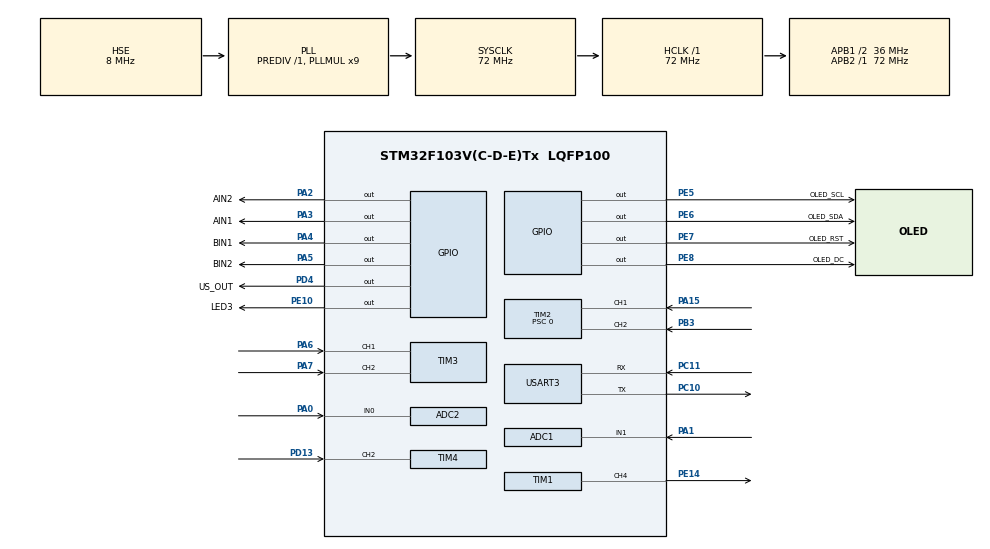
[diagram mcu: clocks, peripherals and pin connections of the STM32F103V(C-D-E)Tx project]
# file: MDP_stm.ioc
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ADC1.Channel-5\#ChannelRegularConversion=ADC_CHANNEL_1
ADC1.ContinuousConvMode=ENABLE
ADC1.NbrOfConversionFlag=1
ADC1.Rank-5\#ChannelRegularConversion=1
ADC1.SamplingTime-5\#ChannelRegularConversion=ADC_SAMPLETIME_1CYCLE_5
ADC1.master=1
ADC2.Channel-1\#ChannelRegularConversion=ADC_CHANNEL_0
ADC2.NbrOfConversionFlag=1
ADC2.Rank-1\#ChannelRegularConversion=1
ADC2.SamplingTime-1\#ChannelRegularConversion=ADC_SAMPLETIME_1CYCLE_5
FREERTOS.HEAP_NUMBER=4
FREERTOS.Tasks01=defaultTask,24,128,StartDefaultTask,Default,NULL,Dynamic,NULL,NULL;ShowTask,8,128,show,Default,NULL,Dynamic,NULL,NULL;EncoderTask,8,128,encoder_task,Default,NULL,Dynamic,NULL,NULL;SonicSensorTask,8,128,SonicSensor,Default,NULL,Dynamic,NULL,NULL;IrSensorsTask,8,128,IRSensors,Default,NULL,Dynamic,NULL,NULL
FREERTOS.configTOTAL_HEAP_SIZE=4096
Mcu.Family=STM32F1
Mcu.Name=STM32F103V(C-D-E)Tx
Mcu.Package=LQFP100
NVIC.PriorityGroup=NVIC_PRIORITYGROUP_4
NVIC.TIM4_IRQn=true\:5\:0\:false\:false\:true\:true\:true\:true
NVIC.USART3_IRQn=true\:5\:0\:true\:false\:true\:true\:true\:true
OSC_IN.Mode=HSE-External-Oscillator
OSC_IN.Signal=RCC_OSC_IN
OSC_OUT.Mode=HSE-External-Oscillator
OSC_OUT.Signal=RCC_OSC_OUT
PA0-WKUP.Signal=ADCx_IN0
PA1.Signal=ADCx_IN1
PA15.Signal=S_TIM2_CH1_ETR
PA2.GPIO_Label=AIN2
PA2.GPIO_Speed=GPIO_SPEED_FREQ_HIGH
PA2.Signal=GPIO_Output
PA3.GPIO_Label=AIN1
PA3.GPIO_Speed=GPIO_SPEED_FREQ_HIGH
PA3.Signal=GPIO_Output
PA4.GPIO_Label=BIN1
PA4.GPIO_Speed=GPIO_SPEED_FREQ_HIGH
PA4.Signal=GPIO_Output
PA5.GPIO_Label=BIN2
PA5.GPIO_Speed=GPIO_SPEED_FREQ_HIGH
PA5.Signal=GPIO_Output
PA6.Signal=S_TIM3_CH1
PA7.Signal=S_TIM3_CH2
PB3.Signal=S_TIM2_CH2
PC10.Mode=Asynchronous
PC10.Signal=USART3_TX
PC11.Mode=Asynchronous
PC11.Signal=USART3_RX
PC6.GPIO_Label=PWMA
PC6.Signal=S_TIM8_CH1
PC7.GPIO_Label=PWMB
PC7.Signal=S_TIM8_CH2
PD13.Signal=S_TIM4_CH2
PD4.GPIO_Label=US_OUT
PD4.Signal=GPIO_Output
PE10.GPIO_Label=LED3
PE10.Signal=GPIO_Output
PE14.Signal=S_TIM1_CH4
PE5.GPIO_Label=OLED_SCL
PE5.Signal=GPIO_Output
PE6.GPIO_Label=OLED_SDA
PE6.Signal=GPIO_Output
PE7.GPIO_Label=OLED_RST
PE7.Signal=GPIO_Output
PE8.GPIO_Label=OLED_DC
PE8.Signal=GPIO_Output
ProjectManager.HeapSize=0x200
ProjectManager.StackSize=0x400
ProjectManager.TargetToolchain=STM32CubeIDE
RCC.ADCPresc=RCC_ADCPCLK2_DIV6
RCC.AHBFreq_Value=72000000
RCC.APB1CLKDivider=RCC_HCLK_DIV2
RCC.APB1Freq_Value=36000000
RCC.APB1TimFreq_Value=72000000
RCC.APB2Freq_Value=72000000
RCC.APB2TimFreq_Value=72000000
RCC.HCLKFreq_Value=72000000
RCC.PLLMUL=RCC_PLL_MUL9
RCC.PLLSourceVirtual=RCC_PLLSOURCE_HSE
RCC.SYSCLKFreq_VALUE=72000000
RCC.SYSCLKSource=RCC_SYSCLKSOURCE_PLLCLK
RCC.USBFreq_Value=72000000
SH.ADCx_IN0.0=ADC2_IN0,IN0
SH.ADCx_IN1.0=ADC1_IN1,IN1
SH.S_TIM1_CH4.0=TIM1_CH4,PWM Generation4 CH4
SH.S_TIM2_CH1_ETR.0=TIM2_CH1,Encoder_Interface
SH.S_TIM2_CH2.0=TIM2_CH2,Encoder_Interface
SH.S_TIM3_CH1.0=TIM3_CH1,Encoder_Interface
SH.S_TIM3_CH2.0=TIM3_CH2,Encoder_Interface
SH.S_TIM4_CH2.0=TIM4_CH2,Input_Capture2_from_TI2
SH.S_TIM8_CH1.0=TIM8_CH1
SH.S_TIM8_CH2.0=TIM8_CH2
TIM1.AutoReloadPreload=TIM_AUTORELOAD_PRELOAD_ENABLE
TIM1.Channel-PWM\ Generation4\ CH4=TIM_CHANNEL_4
TIM1.Period=1000
TIM1.Prescaler=1440
TIM2.EncoderMode=TIM_ENCODERMODE_TI12
TIM2.IC1Filter=5
TIM2.IC2Filter=5
TIM2.Prescaler=0
TIM3.EncoderMode=TIM_ENCODERMODE_TI12
TIM3.IC1Filter=10
TIM3.IC2Filter=10
TIM4.Channel-Input_Capture2_from_TI2=TIM_CHANNEL_2
TIM4.Period=0xffff-1
TIM4.Prescaler=71
TIM8.AutoReloadPreload=TIM_AUTORELOAD_PRELOAD_DISABLE
TIM8.Channel-PWM\ Generation1\ No\ Output=TIM_CHANNEL_1
TIM8.Channel-PWM\ Generation2\ No\ Output=TIM_CHANNEL_2
TIM8.Period=7199
TIM8.TIM_MasterSlaveMode=TIM_MASTERSLAVEMODE_DISABLE
USART3.VirtualMode=VM_ASYNC
VP_FREERTOS_VS_CMSIS_V2.Mode=CMSIS_V2
VP_SYS_VS_ND.Mode=No_Debug
VP_TIM1_VS_ClockSourceINT.Mode=Internal
VP_TIM8_VS_ClockSourceINT.Mode=Internal
VP_TIM8_VS_no_output1.Mode=PWM Generation1 No Output
VP_TIM8_VS_no_output2.Mode=PWM Generation2 No Output
board=custom

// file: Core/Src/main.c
/* USER CODE BEGIN Header */
/**
  ******************************************************************************
  * @file           : main.c
  * @brief          : Main program body
  ******************************************************************************
  * @attention
  *
  * <h2><center>&copy; Copyright (c) 2021 STMicroelectronics.
  * All rights reserved.</center></h2>
  *
  * This software component is licensed by ST under BSD 3-Clause license,
  * the "License"; You may not use this file except in compliance with the
  * License. You may obtain a copy of the License at:
  *                        opensource.org/licenses/BSD-3-Clause
  *
  ******************************************************************************
  */
/* USER CODE END Header */
#include "main.h"
#include "cmsis_os.h"

/* USER CODE BEGIN Includes */
#include "oled.h"
#include "math.h"
#include "string.h"
#include "stdbool.h"
/* USER CODE END Includes */

ADC_HandleTypeDef hadc1;
ADC_HandleTypeDef hadc2;

TIM_HandleTypeDef htim1;
TIM_HandleTypeDef htim2;
TIM_HandleTypeDef htim3;
TIM_HandleTypeDef htim4;
TIM_HandleTypeDef htim8;

UART_HandleTypeDef huart3;

/* Definitions for defaultTask */
osThreadId_t defaultTaskHandle;
const osThreadAttr_t defaultTask_attributes = {
  .name = "defaultTask",
  .stack_size = 128 * 4,
  .priority = (osPriority_t) osPriorityNormal,
};
/* Definitions for ShowTask */
osThreadId_t ShowTaskHandle;
const osThreadAttr_t ShowTask_attributes = {
  .name = "ShowTask",
  .stack_size = 128 * 4,
  .priority = (osPriority_t) osPriorityLow,
};
/* Definitions for EncoderTask */
osThreadId_t EncoderTaskHandle;
const osThreadAttr_t EncoderTask_attributes = {
  .name = "EncoderTask",
  .stack_size = 128 * 4,
  .priority = (osPriority_t) osPriorityLow,
};
/* Definitions for SonicSensorTask */
osThreadId_t SonicSensorTaskHandle;
const osThreadAttr_t SonicSensorTask_attributes = {
  .name = "SonicSensorTask",
  .stack_size = 128 * 4,
  .priority = (osPriority_t) osPriorityLow,
};
/* Definitions for IrSensorsTask */
osThreadId_t IrSensorsTaskHandle;
const osThreadAttr_t IrSensorsTask_attributes = {
  .name = "IrSensorsTask",
  .stack_size = 128 * 4,
  .priority = (osPriority_t) osPriorityLow,
};

void SystemClock_Config(void);
static void MX_GPIO_Init(void);
static void MX_TIM8_Init(void);
static void MX_TIM2_Init(void);
static void MX_TIM1_Init(void);
static void MX_USART3_UART_Init(void);
static void MX_ADC1_Init(void);
static void MX_ADC2_Init(void);
static void MX_TIM4_Init(void);
static void MX_TIM3_Init(void);
void StartDefaultTask(void *argument);
void show(void *argument);
void encoder_task(void *argument);
void SonicSensor(void *argument);
void IRSensors(void *argument);

/* USER CODE BEGIN 0 */
uint8_t aRxBuffer[20]; //buffer array to store incoming uart data
uint8_t indexer = 0; //var to store array index and determine number of incoming chars
uint8_t data_rx = 0; //var to receive incoming uart char

uint16_t pwmValB=3000; // initial default speed
uint16_t pwmValA =1200;
uint32_t speedConstant= 1090;

uint32_t IC_Val1 = 0;
uint32_t IC_Val2 = 0;
uint32_t Difference = 0;
uint32_t Distance = 0;
uint8_t Is_First_Captured = 0;  // is the first value captured ?

uint8_t pnce  = 0;

float voltage1, voltage2 = 0;
int irDistance1, irDistance2 = 0;
uint32_t ADC_VAL1,ADC_VAL2 = 0;

uint32_t speedA,speedB;

void delay (uint16_t time)
{
	__HAL_TIM_SET_COUNTER(&htim4, 0);
	while (__HAL_TIM_GET_COUNTER (&htim4) < time);
}

void HAL_TIM_IC_CaptureCallback(TIM_HandleTypeDef *htim)
{
  if (htim->Channel == HAL_TIM_ACTIVE_CHANNEL_2)  // if the interrupt source is channel2
	{
	  uint8_t ch = 'B';
	  	  HAL_UART_Transmit(&huart3,(uint8_t *)&ch,1,0xFFFF);
		if (Is_First_Captured==0) // if the first value is not captured
		{
			IC_Val1 = HAL_TIM_ReadCapturedValue(htim, TIM_CHANNEL_2); // read the first value
			Is_First_Captured = 1;  // set the first captured as true
			// Now change the polarity to falling edge
			__HAL_TIM_SET_CAPTUREPOLARITY(htim, TIM_CHANNEL_2, TIM_INPUTCHANNELPOLARITY_FALLING);
		}

		else if (Is_First_Captured==1)   // if the first is already captured
		{
			IC_Val2 = HAL_TIM_ReadCapturedValue(htim, TIM_CHANNEL_2);  // read second value
			__HAL_TIM_SET_COUNTER(htim, 0);  // reset the counter

			if (IC_Val2 > IC_Val1)
			{
				Difference = IC_Val2-IC_Val1;
			}

			else if (IC_Val1 > IC_Val2)
			{
				Difference = (0xffff - IC_Val1) + IC_Val2;
			}

			Distance = Difference * .034/2;
			Is_First_Captured = 0; // set it back to false

			// set polarity to rising edge
			__HAL_TIM_SET_CAPTUREPOLARITY(htim, TIM_CHANNEL_2, TIM_INPUTCHANNELPOLARITY_RISING);
			__HAL_TIM_DISABLE_IT(&htim4, TIM_IT_CC2);
		}
	}
}

void HCSR04_Read (void)
{  uint8_t ch = 'A';
	  HAL_UART_Transmit(&huart3,(uint8_t *)&ch,1,0xFFFF);
	HAL_GPIO_WritePin(US_OUT_GPIO_Port, US_OUT_Pin, GPIO_PIN_SET);  // pull the TRIG pin HIGH
	delay(10);  // wait for 10 us
	HAL_GPIO_WritePin(US_OUT_GPIO_Port, US_OUT_Pin, GPIO_PIN_RESET);  // pull the TRIG pin low

	__HAL_TIM_ENABLE_IT(&htim4, TIM_IT_CC2);
}

void stop_rear_wheels()
{
	__HAL_TIM_SET_COMPARE(&htim8, TIM_CHANNEL_1, 0);
	__HAL_TIM_SET_COMPARE(&htim8, TIM_CHANNEL_2, 0);
}

void set_wheel_direction(bool isForward){
	if (isForward){
		HAL_GPIO_WritePin(GPIOA,AIN2_Pin,GPIO_PIN_SET);
		HAL_GPIO_WritePin(GPIOA,AIN1_Pin,GPIO_PIN_RESET);
		HAL_GPIO_WritePin(GPIOA, BIN2_Pin, GPIO_PIN_SET);
		HAL_GPIO_WritePin(GPIOA, BIN1_Pin, GPIO_PIN_RESET);
	} else {
		HAL_GPIO_WritePin(GPIOA,AIN2_Pin,GPIO_PIN_RESET);
		HAL_GPIO_WritePin(GPIOA,AIN1_Pin,GPIO_PIN_SET);
		HAL_GPIO_WritePin(GPIOA, BIN2_Pin, GPIO_PIN_RESET);
		HAL_GPIO_WritePin(GPIOA, BIN1_Pin, GPIO_PIN_SET);
	}
}

void move_forward(uint32_t period)
{
//	uint32_t distance_ticks = ((distance/100)/(0.065*3.1416)) / (speedConstant/330*36) *60 * 1000;
	//(1*1.24/(0.065*3.1416)) / (1180/330*36) *60 * 1000
	set_wheel_direction(true);
	while (period >0){
		htim1.Instance->CCR4 = 68;
		osDelay(100);
		htim1.Instance->CCR4 = 75;
		osDelay(300);
		__HAL_TIM_SET_COMPARE(&htim8, TIM_CHANNEL_1, 3700);
		__HAL_TIM_SET_COMPARE(&htim8, TIM_CHANNEL_2, 3100);
		if (period > 1000){
			osDelay(1000);
			period -=1000;
		} else {
			osDelay(period);
			period -= period;
		}
		stop_rear_wheels();
	}
}

void move_backward(uint32_t period)
{
//	uint32_t distance_ticks = ((distance/100)/(0.065*3.1416)) / (speedConstant/330*36) *60 * 1000;
	//(1*1.24/(0.065*3.1416)) / (1180/330*36) *60 * 1000
	set_wheel_direction(false);

	while (period >0){
		htim1.Instance->CCR4 = 68;
		osDelay(100);
		htim1.Instance->CCR4 = 75;
		osDelay(300);
		__HAL_TIM_SET_COMPARE(&htim8, TIM_CHANNEL_1, 3800);
		__HAL_TIM_SET_COMPARE(&htim8, TIM_CHANNEL_2, 3165);
		if (period > 1000){
			osDelay(1000);
			period -=1000;
		} else {
			osDelay(period);
			period -=period;
		}
		stop_rear_wheels();
	}
}

void turn_left(bool isForward, uint32_t period)
{

	// execute turn
	htim1.Instance->CCR4 = 57;    //extreme left
	osDelay(300);

	// set pins
	if (isForward){
		set_wheel_direction(isForward);
		__HAL_TIM_SET_COMPARE(&htim8, TIM_CHANNEL_1, 300);
		__HAL_TIM_SET_COMPARE(&htim8, TIM_CHANNEL_2, 3900);
	} else {
		set_wheel_direction(isForward);
		__HAL_TIM_SET_COMPARE(&htim8, TIM_CHANNEL_1, 800);
		__HAL_TIM_SET_COMPARE(&htim8, TIM_CHANNEL_2, 3850);
	}

	osDelay(period);

	// reset rear wheels
	stop_rear_wheels();

	// reset servo wheels
	htim1.Instance->CCR4 = 75;
}
void turn_right(bool isForward, uint32_t period)
{
	// set pins
	if (isForward){
		htim1.Instance->CCR4 = 100;    //extreme right
		osDelay(300);
		set_wheel_direction(isForward);
		__HAL_TIM_SET_COMPARE(&htim8, TIM_CHANNEL_1, 3500);
		__HAL_TIM_SET_COMPARE(&htim8, TIM_CHANNEL_2, 1200);
	} else {
		htim1.Instance->CCR4 = 101;    //extreme right
		osDelay(300);
		set_wheel_direction(isForward);
		__HAL_TIM_SET_COMPARE(&htim8, TIM_CHANNEL_1, 3450);
		__HAL_TIM_SET_COMPARE(&htim8, TIM_CHANNEL_2, 1280);
	}
	osDelay(period);

	// reset rear wheels
	stop_rear_wheels();

	// reset servo wheels
	htim1.Instance->CCR4 = 75;
}

void move_infinitely(){
	if (Distance <= 15){
		return;
	}
	set_wheel_direction(true);
	htim1.Instance->CCR4 = 68;
	osDelay(100);
	htim1.Instance->CCR4 = 75;
	osDelay(300);
	__HAL_TIM_SET_COMPARE(&htim8, TIM_CHANNEL_1, 3700);
	__HAL_TIM_SET_COMPARE(&htim8, TIM_CHANNEL_2, 3100);
	while (Distance >15) {
		continue;
	}
	stop_rear_wheels();
}

uint32_t concatValue(uint8_t arr[20], int s, int e){
	uint32_t res =0;
	for (int j=0;j<=e-s;j++){
	 	res += pow(10,j)*(arr[e-j]-48);
	}
	return res;
}

/* USER CODE END 0 */

int main(void)
{

  /* MCU Configuration--------------------------------------------------------*/

  /* Reset of all peripherals, Initializes the Flash interface and the Systick. */
  HAL_Init();

  /* Configure the system clock */
  SystemClock_Config();

  /* Initialize all configured peripherals */
  MX_GPIO_Init();
  MX_TIM8_Init();
  MX_TIM2_Init();
  MX_TIM1_Init();
  MX_USART3_UART_Init();
  MX_ADC1_Init();
  MX_ADC2_Init();
  MX_TIM4_Init();
  MX_TIM3_Init();
  /* USER CODE BEGIN 2 */
  OLED_Init();
  HAL_TIM_IC_Start_IT(&htim4, TIM_CHANNEL_2);
  HAL_TIM_PWM_Start(&htim8,TIM_CHANNEL_1);
  HAL_TIM_PWM_Start(&htim8, TIM_CHANNEL_2);
  HAL_TIM_PWM_Start(&htim1,TIM_CHANNEL_4);

  /* USER CODE END 2 */

  /* Init scheduler */
  osKernelInitialize();

  /* Create the thread(s) */
  /* creation of defaultTask */
  defaultTaskHandle = osThreadNew(StartDefaultTask, NULL, &defaultTask_attributes);

  /* creation of ShowTask */
  ShowTaskHandle = osThreadNew(show, NULL, &ShowTask_attributes);

  /* creation of EncoderTask */
  EncoderTaskHandle = osThreadNew(encoder_task, NULL, &EncoderTask_attributes);

  /* creation of SonicSensorTask */
  SonicSensorTaskHandle = osThreadNew(SonicSensor, NULL, &SonicSensorTask_attributes);

  /* creation of IrSensorsTask */
  IrSensorsTaskHandle = osThreadNew(IRSensors, NULL, &IrSensorsTask_attributes);

  /* Start scheduler */
  osKernelStart();

  /* We should never get here as control is now taken by the scheduler */
  /* Infinite loop */

}

void SystemClock_Config(void)
{
  RCC_OscInitTypeDef RCC_OscInitStruct = {0};
  RCC_ClkInitTypeDef RCC_ClkInitStruct = {0};
  RCC_PeriphCLKInitTypeDef PeriphClkInit = {0};

  /** Initializes the RCC Oscillators according to the specified parameters
  * in the RCC_OscInitTypeDef structure.
  */
  RCC_OscInitStruct.OscillatorType = RCC_OSCILLATORTYPE_HSE;
  RCC_OscInitStruct.HSEState = RCC_HSE_ON;
  RCC_OscInitStruct.HSEPredivValue = RCC_HSE_PREDIV_DIV1;
  RCC_OscInitStruct.HSIState = RCC_HSI_ON;
  RCC_OscInitStruct.PLL.PLLState = RCC_PLL_ON;
  RCC_OscInitStruct.PLL.PLLSource = RCC_PLLSOURCE_HSE;
  RCC_OscInitStruct.PLL.PLLMUL = RCC_PLL_MUL9;
  if (HAL_RCC_OscConfig(&RCC_OscInitStruct) != HAL_OK)
  {
    Error_Handler();
  }
  /** Initializes the CPU, AHB and APB buses clocks
  */
  RCC_ClkInitStruct.ClockType = RCC_CLOCKTYPE_HCLK|RCC_CLOCKTYPE_SYSCLK
                              |RCC_CLOCKTYPE_PCLK1|RCC_CLOCKTYPE_PCLK2;
  RCC_ClkInitStruct.SYSCLKSource = RCC_SYSCLKSOURCE_PLLCLK;
  RCC_ClkInitStruct.AHBCLKDivider = RCC_SYSCLK_DIV1;
  RCC_ClkInitStruct.APB1CLKDivider = RCC_HCLK_DIV2;
  RCC_ClkInitStruct.APB2CLKDivider = RCC_HCLK_DIV1;

  if (HAL_RCC_ClockConfig(&RCC_ClkInitStruct, FLASH_LATENCY_2) != HAL_OK)
  {
    Error_Handler();
  }
  PeriphClkInit.PeriphClockSelection = RCC_PERIPHCLK_ADC;
  PeriphClkInit.AdcClockSelection = RCC_ADCPCLK2_DIV6;
  if (HAL_RCCEx_PeriphCLKConfig(&PeriphClkInit) != HAL_OK)
  {
    Error_Handler();
  }
}

static void MX_ADC1_Init(void)
{

  ADC_ChannelConfTypeDef sConfig = {0};

  /** Common config
  */
  hadc1.Instance = ADC1;
  hadc1.Init.ScanConvMode = ADC_SCAN_DISABLE;
  hadc1.Init.ContinuousConvMode = ENABLE;
  hadc1.Init.DiscontinuousConvMode = DISABLE;
  hadc1.Init.ExternalTrigConv = ADC_SOFTWARE_START;
  hadc1.Init.DataAlign = ADC_DATAALIGN_RIGHT;
  hadc1.Init.NbrOfConversion = 1;
  if (HAL_ADC_Init(&hadc1) != HAL_OK)
  {
    Error_Handler();
  }
  /** Configure Regular Channel
  */
  sConfig.Channel = ADC_CHANNEL_1;
  sConfig.Rank = ADC_REGULAR_RANK_1;
  sConfig.SamplingTime = ADC_SAMPLETIME_1CYCLE_5;
  if (HAL_ADC_ConfigChannel(&hadc1, &sConfig) != HAL_OK)
  {
    Error_Handler();
  }

}

static void MX_ADC2_Init(void)
{

  ADC_ChannelConfTypeDef sConfig = {0};

  /** Common config
  */
  hadc2.Instance = ADC2;
  hadc2.Init.ScanConvMode = ADC_SCAN_DISABLE;
  hadc2.Init.ContinuousConvMode = DISABLE;
  hadc2.Init.DiscontinuousConvMode = DISABLE;
  hadc2.Init.ExternalTrigConv = ADC_SOFTWARE_START;
  hadc2.Init.DataAlign = ADC_DATAALIGN_RIGHT;
  hadc2.Init.NbrOfConversion = 1;
  if (HAL_ADC_Init(&hadc2) != HAL_OK)
  {
    Error_Handler();
  }
  /** Configure Regular Channel
  */
  sConfig.Channel = ADC_CHANNEL_0;
  sConfig.Rank = ADC_REGULAR_RANK_1;
  sConfig.SamplingTime = ADC_SAMPLETIME_1CYCLE_5;
  if (HAL_ADC_ConfigChannel(&hadc2, &sConfig) != HAL_OK)
  {
    Error_Handler();
  }

}

static void MX_TIM1_Init(void)
{

  TIM_ClockConfigTypeDef sClockSourceConfig = {0};
  TIM_MasterConfigTypeDef sMasterConfig = {0};
  TIM_OC_InitTypeDef sConfigOC = {0};
  TIM_BreakDeadTimeConfigTypeDef sBreakDeadTimeConfig = {0};

  htim1.Instance = TIM1;
  htim1.Init.Prescaler = 1440;
  htim1.Init.CounterMode = TIM_COUNTERMODE_UP;
  htim1.Init.Period = 1000;
  htim1.Init.ClockDivision = TIM_CLOCKDIVISION_DIV1;
  htim1.Init.RepetitionCounter = 0;
  htim1.Init.AutoReloadPreload = TIM_AUTORELOAD_PRELOAD_ENABLE;
  if (HAL_TIM_Base_Init(&htim1) != HAL_OK)
  {
    Error_Handler();
  }
  sClockSourceConfig.ClockSource = TIM_CLOCKSOURCE_INTERNAL;
  if (HAL_TIM_ConfigClockSource(&htim1, &sClockSourceConfig) != HAL_OK)
  {
    Error_Handler();
  }
  if (HAL_TIM_PWM_Init(&htim1) != HAL_OK)
  {
    Error_Handler();
  }
  sMasterConfig.MasterOutputTrigger = TIM_TRGO_RESET;
  sMasterConfig.MasterSlaveMode = TIM_MASTERSLAVEMODE_DISABLE;
  if (HAL_TIMEx_MasterConfigSynchronization(&htim1, &sMasterConfig) != HAL_OK)
  {
    Error_Handler();
  }
  sConfigOC.OCMode = TIM_OCMODE_PWM1;
  sConfigOC.Pulse = 0;
  sConfigOC.OCPolarity = TIM_OCPOLARITY_HIGH;
  sConfigOC.OCFastMode = TIM_OCFAST_DISABLE;
  sConfigOC.OCIdleState = TIM_OCIDLESTATE_RESET;
  sConfigOC.OCNIdleState = TIM_OCNIDLESTATE_RESET;
  if (HAL_TIM_PWM_ConfigChannel(&htim1, &sConfigOC, TIM_CHANNEL_4) != HAL_OK)
  {
    Error_Handler();
  }
  sBreakDeadTimeConfig.OffStateRunMode = TIM_OSSR_DISABLE;
  sBreakDeadTimeConfig.OffStateIDLEMode = TIM_OSSI_DISABLE;
  sBreakDeadTimeConfig.LockLevel = TIM_LOCKLEVEL_OFF;
  sBreakDeadTimeConfig.DeadTime = 0;
  sBreakDeadTimeConfig.BreakState = TIM_BREAK_DISABLE;
  sBreakDeadTimeConfig.BreakPolarity = TIM_BREAKPOLARITY_HIGH;
  sBreakDeadTimeConfig.AutomaticOutput = TIM_AUTOMATICOUTPUT_DISABLE;
  if (HAL_TIMEx_ConfigBreakDeadTime(&htim1, &sBreakDeadTimeConfig) != HAL_OK)
  {
    Error_Handler();
  }
  HAL_TIM_MspPostInit(&htim1);

}

static void MX_TIM2_Init(void)
{

  TIM_Encoder_InitTypeDef sConfig = {0};
  TIM_MasterConfigTypeDef sMasterConfig = {0};

  htim2.Instance = TIM2;
  htim2.Init.Prescaler = 0;
  htim2.Init.CounterMode = TIM_COUNTERMODE_UP;
  htim2.Init.Period = 65535;
  htim2.Init.ClockDivision = TIM_CLOCKDIVISION_DIV1;
  htim2.Init.AutoReloadPreload = TIM_AUTORELOAD_PRELOAD_DISABLE;
  sConfig.EncoderMode = TIM_ENCODERMODE_TI12;
  sConfig.IC1Polarity = TIM_ICPOLARITY_RISING;
  sConfig.IC1Selection = TIM_ICSELECTION_DIRECTTI;
  sConfig.IC1Prescaler = TIM_ICPSC_DIV1;
  sConfig.IC1Filter = 5;
  sConfig.IC2Polarity = TIM_ICPOLARITY_RISING;
  sConfig.IC2Selection = TIM_ICSELECTION_DIRECTTI;
  sConfig.IC2Prescaler = TIM_ICPSC_DIV1;
  sConfig.IC2Filter = 5;
  if (HAL_TIM_Encoder_Init(&htim2, &sConfig) != HAL_OK)
  {
    Error_Handler();
  }
  sMasterConfig.MasterOutputTrigger = TIM_TRGO_RESET;
  sMasterConfig.MasterSlaveMode = TIM_MASTERSLAVEMODE_DISABLE;
  if (HAL_TIMEx_MasterConfigSynchronization(&htim2, &sMasterConfig) != HAL_OK)
  {
    Error_Handler();
  }

}

static void MX_TIM3_Init(void)
{

  TIM_Encoder_InitTypeDef sConfig = {0};
  TIM_MasterConfigTypeDef sMasterConfig = {0};

  htim3.Instance = TIM3;
  htim3.Init.Prescaler = 0;
  htim3.Init.CounterMode = TIM_COUNTERMODE_UP;
  htim3.Init.Period = 65535;
  htim3.Init.ClockDivision = TIM_CLOCKDIVISION_DIV1;
  htim3.Init.AutoReloadPreload = TIM_AUTORELOAD_PRELOAD_DISABLE;
  sConfig.EncoderMode = TIM_ENCODERMODE_TI12;
  sConfig.IC1Polarity = TIM_ICPOLARITY_RISING;
  sConfig.IC1Selection = TIM_ICSELECTION_DIRECTTI;
  sConfig.IC1Prescaler = TIM_ICPSC_DIV1;
  sConfig.IC1Filter = 10;
  sConfig.IC2Polarity = TIM_ICPOLARITY_RISING;
  sConfig.IC2Selection = TIM_ICSELECTION_DIRECTTI;
  sConfig.IC2Prescaler = TIM_ICPSC_DIV1;
  sConfig.IC2Filter = 10;
  if (HAL_TIM_Encoder_Init(&htim3, &sConfig) != HAL_OK)
  {
    Error_Handler();
  }
  sMasterConfig.MasterOutputTrigger = TIM_TRGO_RESET;
  sMasterConfig.MasterSlaveMode = TIM_MASTERSLAVEMODE_DISABLE;
  if (HAL_TIMEx_MasterConfigSynchronization(&htim3, &sMasterConfig) != HAL_OK)
  {
    Error_Handler();
  }

}

static void MX_TIM4_Init(void)
{

  TIM_MasterConfigTypeDef sMasterConfig = {0};
  TIM_IC_InitTypeDef sConfigIC = {0};

  htim4.Instance = TIM4;
  htim4.Init.Prescaler = 71;
  htim4.Init.CounterMode = TIM_COUNTERMODE_UP;
  htim4.Init.Period = 0xffff-1;
  htim4.Init.ClockDivision = TIM_CLOCKDIVISION_DIV1;
  htim4.Init.AutoReloadPreload = TIM_AUTORELOAD_PRELOAD_DISABLE;
  if (HAL_TIM_IC_Init(&htim4) != HAL_OK)
  {
    Error_Handler();
  }
  sMasterConfig.MasterOutputTrigger = TIM_TRGO_RESET;
  sMasterConfig.MasterSlaveMode = TIM_MASTERSLAVEMODE_DISABLE;
  if (HAL_TIMEx_MasterConfigSynchronization(&htim4, &sMasterConfig) != HAL_OK)
  {
    Error_Handler();
  }
  sConfigIC.ICPolarity = TIM_INPUTCHANNELPOLARITY_RISING;
  sConfigIC.ICSelection = TIM_ICSELECTION_DIRECTTI;
  sConfigIC.ICPrescaler = TIM_ICPSC_DIV1;
  sConfigIC.ICFilter = 0;
  if (HAL_TIM_IC_ConfigChannel(&htim4, &sConfigIC, TIM_CHANNEL_2) != HAL_OK)
  {
    Error_Handler();
  }

}

static void MX_TIM8_Init(void)
{

  TIM_ClockConfigTypeDef sClockSourceConfig = {0};
  TIM_MasterConfigTypeDef sMasterConfig = {0};
  TIM_OC_InitTypeDef sConfigOC = {0};
  TIM_BreakDeadTimeConfigTypeDef sBreakDeadTimeConfig = {0};

  htim8.Instance = TIM8;
  htim8.Init.Prescaler = 0;
  htim8.Init.CounterMode = TIM_COUNTERMODE_UP;
  htim8.Init.Period = 7199;
  htim8.Init.ClockDivision = TIM_CLOCKDIVISION_DIV1;
  htim8.Init.RepetitionCounter = 0;
  htim8.Init.AutoReloadPreload = TIM_AUTORELOAD_PRELOAD_DISABLE;
  if (HAL_TIM_Base_Init(&htim8) != HAL_OK)
  {
    Error_Handler();
  }
  sClockSourceConfig.ClockSource = TIM_CLOCKSOURCE_INTERNAL;
  if (HAL_TIM_ConfigClockSource(&htim8, &sClockSourceConfig) != HAL_OK)
  {
    Error_Handler();
  }
  if (HAL_TIM_PWM_Init(&htim8) != HAL_OK)
  {
    Error_Handler();
  }
  sMasterConfig.MasterOutputTrigger = TIM_TRGO_RESET;
  sMasterConfig.MasterSlaveMode = TIM_MASTERSLAVEMODE_DISABLE;
  if (HAL_TIMEx_MasterConfigSynchronization(&htim8, &sMasterConfig) != HAL_OK)
  {
    Error_Handler();
  }
  sConfigOC.OCMode = TIM_OCMODE_PWM1;
  sConfigOC.Pulse = 0;
  sConfigOC.OCPolarity = TIM_OCPOLARITY_HIGH;
  sConfigOC.OCNPolarity = TIM_OCNPOLARITY_HIGH;
  sConfigOC.OCFastMode = TIM_OCFAST_DISABLE;
  sConfigOC.OCIdleState = TIM_OCIDLESTATE_RESET;
  sConfigOC.OCNIdleState = TIM_OCNIDLESTATE_RESET;
  if (HAL_TIM_PWM_ConfigChannel(&htim8, &sConfigOC, TIM_CHANNEL_1) != HAL_OK)
  {
    Error_Handler();
  }
  if (HAL_TIM_PWM_ConfigChannel(&htim8, &sConfigOC, TIM_CHANNEL_2) != HAL_OK)
  {
    Error_Handler();
  }
  sBreakDeadTimeConfig.OffStateRunMode = TIM_OSSR_DISABLE;
  sBreakDeadTimeConfig.OffStateIDLEMode = TIM_OSSI_DISABLE;
  sBreakDeadTimeConfig.LockLevel = TIM_LOCKLEVEL_OFF;
  sBreakDeadTimeConfig.DeadTime = 0;
  sBreakDeadTimeConfig.BreakState = TIM_BREAK_DISABLE;
  sBreakDeadTimeConfig.BreakPolarity = TIM_BREAKPOLARITY_HIGH;
  sBreakDeadTimeConfig.AutomaticOutput = TIM_AUTOMATICOUTPUT_DISABLE;
  if (HAL_TIMEx_ConfigBreakDeadTime(&htim8, &sBreakDeadTimeConfig) != HAL_OK)
  {
    Error_Handler();
  }

}

static void MX_USART3_UART_Init(void)
{

  huart3.Instance = USART3;
  huart3.Init.BaudRate = 115200;
  huart3.Init.WordLength = UART_WORDLENGTH_8B;
  huart3.Init.StopBits = UART_STOPBITS_1;
  huart3.Init.Parity = UART_PARITY_NONE;
  huart3.Init.Mode = UART_MODE_TX_RX;
  huart3.Init.HwFlowCtl = UART_HWCONTROL_NONE;
  huart3.Init.OverSampling = UART_OVERSAMPLING_16;
  if (HAL_UART_Init(&huart3) != HAL_OK)
  {
    Error_Handler();
  }

}

static void MX_GPIO_Init(void)
{
  GPIO_InitTypeDef GPIO_InitStruct = {0};

  /* GPIO Ports Clock Enable */
  __HAL_RCC_GPIOE_CLK_ENABLE();
  __HAL_RCC_GPIOA_CLK_ENABLE();
  __HAL_RCC_GPIOD_CLK_ENABLE();
  __HAL_RCC_GPIOC_CLK_ENABLE();
  __HAL_RCC_GPIOB_CLK_ENABLE();

  /*Configure GPIO pin Output Level */
  HAL_GPIO_WritePin(GPIOE, OLED_SCL_Pin|OLED_SDA_Pin|OLED_RST_Pin|OLED_DC_Pin
                          |LED3_Pin, GPIO_PIN_RESET);

  /*Configure GPIO pin Output Level */
  HAL_GPIO_WritePin(GPIOA, AIN2_Pin|AIN1_Pin|BIN1_Pin|BIN2_Pin, GPIO_PIN_RESET);

  /*Configure GPIO pin Output Level */
  HAL_GPIO_WritePin(US_OUT_GPIO_Port, US_OUT_Pin, GPIO_PIN_RESET);

  /*Configure GPIO pins : OLED_SCL_Pin OLED_SDA_Pin OLED_RST_Pin OLED_DC_Pin
                           LED3_Pin */
  GPIO_InitStruct.Pin = OLED_SCL_Pin|OLED_SDA_Pin|OLED_RST_Pin|OLED_DC_Pin
                          |LED3_Pin;
  GPIO_InitStruct.Mode = GPIO_MODE_OUTPUT_PP;
  GPIO_InitStruct.Pull = GPIO_NOPULL;
  GPIO_InitStruct.Speed = GPIO_SPEED_FREQ_LOW;
  HAL_GPIO_Init(GPIOE, &GPIO_InitStruct);

  /*Configure GPIO pins : AIN2_Pin AIN1_Pin BIN1_Pin BIN2_Pin */
  GPIO_InitStruct.Pin = AIN2_Pin|AIN1_Pin|BIN1_Pin|BIN2_Pin;
  GPIO_InitStruct.Mode = GPIO_MODE_OUTPUT_PP;
  GPIO_InitStruct.Pull = GPIO_NOPULL;
  GPIO_InitStruct.Speed = GPIO_SPEED_FREQ_HIGH;
  HAL_GPIO_Init(GPIOA, &GPIO_InitStruct);

  /*Configure GPIO pin : US_OUT_Pin */
  GPIO_InitStruct.Pin = US_OUT_Pin;
  GPIO_InitStruct.Mode = GPIO_MODE_OUTPUT_PP;
  GPIO_InitStruct.Pull = GPIO_NOPULL;
  GPIO_InitStruct.Speed = GPIO_SPEED_FREQ_LOW;
  HAL_GPIO_Init(US_OUT_GPIO_Port, &GPIO_InitStruct);

}

/* USER CODE BEGIN 4 */
void HAL_UART_RxCpltCallback(UART_HandleTypeDef *huart)
{
	/*Prevent unused argument(s) compilation warning */
	UNUSED(huart);
//	HAL_UART_Transmit(&huart3,(uint8_t *)aRxBuffer,10,0xFFFF);

}
/* USER CODE END 4 */

void StartDefaultTask(void *argument)
{
  /* USER CODE BEGIN 5 */
  /* Infinite loop */

  for(;;)
  {
	osDelay(500);
	OLED_Refresh_Gram();
  }

  /* USER CODE END 5 */
}

void show(void *argument)
{
  /* USER CODE BEGIN show */
	uint32_t angle, period;
	uint32_t ch1, ch2;
  for (;;)
  {
  // check if any data has been receive
	if  (HAL_UART_Receive_IT(&huart3,(uint8_t *) &data_rx,1) ==HAL_OK) {
		// if char is '\r' -> new data is incoming
		if (data_rx == '\r'){
			// clear variables
			data_rx = 0;
			indexer = 0;
			memset(aRxBuffer,0, 20);
			do{
				if  (HAL_UART_Receive_IT(&huart3,(uint8_t *) &data_rx,1) ==HAL_OK) {
					if (data_rx != '\r'){
						aRxBuffer[indexer] = data_rx;
						indexer++;
					}
				}
			} while(data_rx != '\r');
			data_rx = 0; //clear data_rx again

			//check transmit destination
			switch(aRxBuffer[0]) {
//			case 'w':
//				ch1 = concatValue(aRxBuffer,1,4);
//				ch2 = concatValue(aRxBuffer,5,8);
//				period = concatValue(aRxBuffer,9,12);
//				move_forward(ch1, ch2, period);
//				break;
//			case 's':
//				ch1 = concatValue(aRxBuffer,1,4);
//				ch2 = concatValue(aRxBuffer,5,8);
//				period = concatValue(aRxBuffer,9,12);
//				move_backward(ch1,ch2,period);
//				break;
//			case 'a':
//				ch1 = concatValue(aRxBuffer,2,5);
//				ch2 = concatValue(aRxBuffer,6,9);
//				period = concatValue(aRxBuffer,10,13);
//				turn_left(aRxBuffer[1]=='f',ch1,ch2, period);
//				break;
			case 'w':
				period = concatValue(aRxBuffer,1,4);
				move_forward(period);
				break;
			case 's':
				period = concatValue(aRxBuffer,1,4);
				move_backward(period);
				break;
			case 'a':
				period = concatValue(aRxBuffer,2,5);
				turn_left(aRxBuffer[1]=='f', period);
				break;
			case 'd':
				period = concatValue(aRxBuffer,2,5);
				turn_right(aRxBuffer[1]=='f', period);
				break;
			case 'c': // nop
				break;
			case 't': // fastest path task
				// TODO
				break;
			case 'p':

			case 'i':
				move_infinitely();

			}
	}
  }
  }
  /* USER CODE END show */
}

void encoder_task(void *argument)
{
  /* USER CODE BEGIN encoder_task */
	HAL_TIM_Encoder_Start(&htim2,TIM_CHANNEL_ALL);
	HAL_TIM_Encoder_Start(&htim3,TIM_CHANNEL_ALL);
	  int cnt1, cnt2, speedA;
	  int cnt3, cnt4, speedB;
	  uint32_t tick;

	  cnt1 = __HAL_TIM_GET_COUNTER(&htim2);
	  cnt3 = __HAL_TIM_GET_COUNTER(&htim3);
	  tick = HAL_GetTick();
	  uint8_t display[20];
	  uint16_t dir;
	  /* Infinite loop */
	  for(;;)
	  {
		if(HAL_GetTick()-tick > 1000L){
			cnt2 = __HAL_TIM_GET_COUNTER(&htim2);
			if(__HAL_TIM_IS_TIM_COUNTING_DOWN(&htim2)){
				if(cnt2<cnt1)
					speedA = cnt1 - cnt2;
				else
					speedA = (65535 - cnt2)+cnt1;
			}
			else{
				if(cnt2 > cnt1)
					speedA = cnt2 - cnt1;
				else
					speedA = (65535 - cnt1) + cnt2;
			}

			cnt4 = __HAL_TIM_GET_COUNTER(&htim3);
			if(__HAL_TIM_IS_TIM_COUNTING_DOWN(&htim3)){
				if(cnt4<cnt3)
					speedB = cnt3 - cnt4;
				else
					speedB = (65535 - cnt4)+cnt3;
			}
			else{
				if(cnt4 > cnt3)
					speedB = cnt4 - cnt3;
				else
					speedB = (65535 - cnt3) + cnt4;
			}
			sprintf(display,"ir1:%05d\0",irDistance1);
			OLED_ShowString(10,10,display);
			sprintf(display,"ir2:%05d\0",irDistance2);
			OLED_ShowString(10,20,display);
			sprintf(display,"SpeedA:%05d\0",speedA);
			OLED_ShowString(10,30,display);
			sprintf(display,"SpeedA:%05d\0",speedB);
			OLED_ShowString(10,40,display);
			sprintf(display,"US:%05d\0",Distance);
			OLED_ShowString(10, 50, display);

			cnt1 = __HAL_TIM_GET_COUNTER(&htim2);
			cnt3 = __HAL_TIM_GET_COUNTER(&htim3);
			tick = HAL_GetTick();
		}
	  }
  /* USER CODE END encoder_task */
}

void SonicSensor(void *argument)
{
  /* USER CODE BEGIN SonicSensor */
  /* Infinite loop */
  for(;;)
  {
	HCSR04_Read();
    osDelay(200);
  }
  /* USER CODE END SonicSensor */
}

void IRSensors(void *argument)
{
  /* USER CODE BEGIN IRSensors */
  /* Infinite loop */
  for(;;)
  {
	HAL_ADC_Start(&hadc1);
	HAL_ADC_PollForConversion(&hadc1, 10);
	ADC_VAL1 = HAL_ADC_GetValue(&hadc1);
	HAL_ADC_Stop(&hadc1);

	HAL_ADC_Start(&hadc2);
	HAL_ADC_PollForConversion(&hadc2, 10);
	ADC_VAL2 = HAL_ADC_GetValue(&hadc2);
	HAL_ADC_Stop(&hadc2);

	voltage1 = (float) (ADC_VAL1*5)/4095;
	irDistance1 = roundf(29.988 *pow(voltage1 , -1.173));
	voltage2 = (float) (ADC_VAL2*5)/4095;
	irDistance2 = roundf(29.988 *pow(voltage2 , -1.173));
	osDelay(10);
  }
  /* USER CODE END IRSensors */
}

void Error_Handler(void)
{
  __disable_irq();
  while (1)
  {
  }
}

/************************ (C) COPYRIGHT STMicroelectronics *****END OF FILE****/
